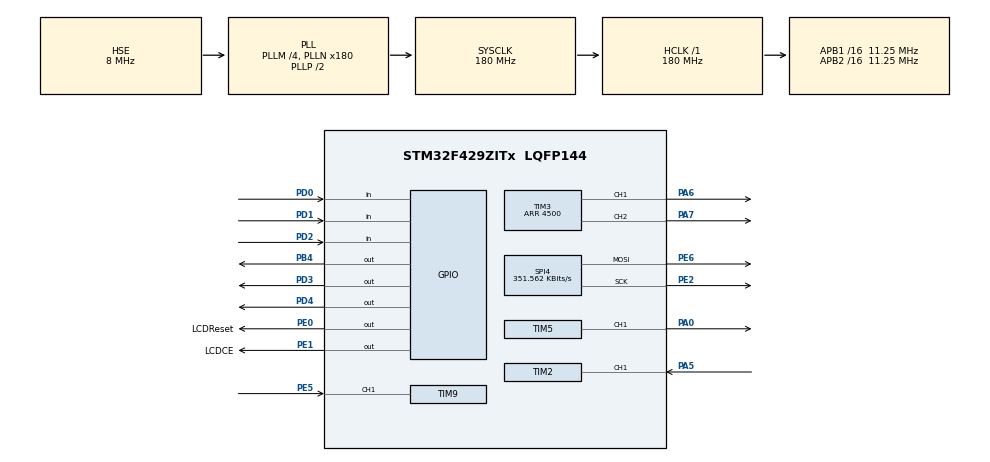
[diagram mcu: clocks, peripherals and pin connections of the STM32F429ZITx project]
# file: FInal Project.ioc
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Mcu.Family=STM32F4
Mcu.Name=STM32F429ZITx
Mcu.Package=LQFP144
NVIC.PriorityGroup=NVIC_PRIORITYGROUP_4
NVIC.TIM1_BRK_TIM9_IRQn=true\:2\:0\:true\:false\:true\:true\:true\:true
NVIC.TIM2_IRQn=true\:0\:0\:false\:false\:true\:true\:true\:true
NVIC.TIM3_IRQn=true\:4\:0\:true\:false\:true\:true\:true\:true
NVIC.TIM5_IRQn=true\:3\:0\:true\:false\:true\:true\:true\:true
PA0/WKUP.Signal=S_TIM5_CH1
PA5.Signal=S_TIM2_CH1_ETR
PA6.Signal=S_TIM3_CH1
PA7.Signal=S_TIM3_CH2
PB4.Signal=GPIO_Output
PD0.Signal=GPIO_Input
PD1.Signal=GPIO_Input
PD2.Signal=GPIO_Input
PD3.Signal=GPIO_Output
PD4.Signal=GPIO_Output
PE0.GPIO_Label=LCDReset
PE0.Signal=GPIO_Output
PE1.GPIO_Label=LCDCE
PE1.Signal=GPIO_Output
PE2.Mode=TX_Only_Simplex_Unidirect_Master
PE2.Signal=SPI4_SCK
PE5.Signal=S_TIM9_CH1
PE6.Mode=TX_Only_Simplex_Unidirect_Master
PE6.Signal=SPI4_MOSI
PH0/OSC_IN.Mode=HSE-External-Oscillator
PH0/OSC_IN.Signal=RCC_OSC_IN
PH1/OSC_OUT.Mode=HSE-External-Oscillator
PH1/OSC_OUT.Signal=RCC_OSC_OUT
ProjectManager.HeapSize=0x200
ProjectManager.StackSize=0x400
ProjectManager.TargetToolchain=EWARM V8.50
RCC.48MHZClocksFreq_Value=90000000
RCC.AHBFreq_Value=180000000
RCC.APB1CLKDivider=RCC_HCLK_DIV16
RCC.APB1Freq_Value=11250000
RCC.APB1TimFreq_Value=22500000
RCC.APB2CLKDivider=RCC_HCLK_DIV16
RCC.APB2Freq_Value=11250000
RCC.APB2TimFreq_Value=22500000
RCC.CortexFreq_Value=180000000
RCC.HCLKFreq_Value=180000000
RCC.HSE_VALUE=8000000
RCC.HSI_VALUE=16000000
RCC.LSE_VALUE=32768
RCC.PLLM=4
RCC.PLLN=180
RCC.PLLSourceVirtual=RCC_PLLSOURCE_HSE
RCC.SYSCLKFreq_VALUE=180000000
RCC.SYSCLKSource=RCC_SYSCLKSOURCE_PLLCLK
RCC.VCOOutputFreq_Value=360000000
SH.S_TIM2_CH1_ETR.0=TIM2_CH1,Input_Capture1_from_TI1
SH.S_TIM3_CH1.0=TIM3_CH1,PWM Generation1 CH1
SH.S_TIM3_CH2.0=TIM3_CH2,PWM Generation2 CH2
SH.S_TIM5_CH1.0=TIM5_CH1,PWM Generation1 CH1
SH.S_TIM9_CH1.0=TIM9_CH1,Input_Capture1_from_TI1
SPI4.BaudRatePrescaler=SPI_BAUDRATEPRESCALER_32
SPI4.CalculateBaudRate=351.562 KBits/s
SPI4.Direction=SPI_DIRECTION_2LINES
SPI4.Mode=SPI_MODE_MASTER
SPI4.VirtualType=VM_MASTER
TIM2.Channel-Input_Capture1_from_TI1=TIM_CHANNEL_1
TIM2.ICFilter_CH1=2
TIM2.ICPolarity_CH1=TIM_INPUTCHANNELPOLARITY_BOTHEDGE
TIM3.Channel-PWM\ Generation1\ CH1=TIM_CHANNEL_1
TIM3.Channel-PWM\ Generation2\ CH2=TIM_CHANNEL_2
TIM3.Period=4500
TIM3.Pulse-PWM\ Generation1\ CH1=2250
TIM3.Pulse-PWM\ Generation2\ CH2=2250
TIM5.Channel-PWM\ Generation1\ CH1=TIM_CHANNEL_1
TIM5.Period=4500000
TIM5.Pulse-PWM\ Generation1\ CH1=1800-1
TIM9.Channel-Input_Capture1_from_TI1=TIM_CHANNEL_1
TIM9.ICPolarity_CH1=TIM_INPUTCHANNELPOLARITY_BOTHEDGE
TIM9.Period=60000
TIM9.Prescaler=180-1
VP_TIM2_VS_ClockSourceINT.Mode=Internal
VP_TIM3_VS_ClockSourceINT.Mode=Internal
VP_TIM5_VS_ClockSourceINT.Mode=Internal
VP_TIM9_VS_ClockSourceINT.Mode=Internal
board=custom

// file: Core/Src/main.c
/* USER CODE BEGIN Header */
/**
  ******************************************************************************
  * @file           : main.c
  * @brief          : Main program body
  ******************************************************************************
  * @attention
  *
  * Copyright (c) 2023 STMicroelectronics.
  * All rights reserved.
  *
  * This software is licensed under terms that can be found in the LICENSE file
  * in the root directory of this software component.
  * If no LICENSE file comes with this software, it is provided AS-IS.
  *
  ******************************************************************************
  */
/* USER CODE END Header */
#include "main.h"

/* USER CODE BEGIN PD */

#define Function_Set   0x30
#define Display_On     0x0C
#define Display_Clear  0x01
#define Entry_Mode_Set 0x06

#define LOWER_DISTANCE_BOUND 1
#define UPPER_DISTANCE_BOUND 12

/* USER CODE END PD */

SPI_HandleTypeDef hspi4;

TIM_HandleTypeDef htim2;
TIM_HandleTypeDef htim3;
TIM_HandleTypeDef htim5;
TIM_HandleTypeDef htim9;

void SystemClock_Config(void);
static void MX_GPIO_Init(void);
static void MX_SPI4_Init(void);
static void MX_TIM5_Init(void);
static void MX_TIM9_Init(void);
static void MX_TIM3_Init(void);
static void MX_TIM2_Init(void);
/* USER CODE BEGIN PFP */

void startSequence();
void loopSequence();
void endSequence();
void emergencyEndSequence();

//LCD Area
uint8_t data[3];

void LCD_SendCommand(uint8_t cmd) {

  data[0] = 0xF8;
  data[1] = (cmd & 0xF0);
  data[2] = ((cmd << 4) & 0xF0);
  HAL_GPIO_WritePin(GPIOE, GPIO_PIN_1, GPIO_PIN_SET);
  HAL_SPI_Transmit(&hspi4, data, 3, 1);
  HAL_GPIO_WritePin(GPIOE, GPIO_PIN_1, GPIO_PIN_RESET);
}

void LCD_SendData(uint8_t dataIn) {
  data[0] = 0xFA;
  data[1] = (dataIn & 0xF0);
  data[2] = ((dataIn << 4) & 0XF0);
  HAL_GPIO_WritePin(GPIOE, GPIO_PIN_1, GPIO_PIN_SET);
  HAL_SPI_Transmit(&hspi4, data, 3, 10);
  HAL_GPIO_WritePin(GPIOE, GPIO_PIN_1, GPIO_PIN_RESET);
}

void LCD_Init() {

    HAL_GPIO_WritePin(GPIOE, GPIO_PIN_0, GPIO_PIN_RESET);
    HAL_Delay(100);
    HAL_GPIO_WritePin(GPIOE, GPIO_PIN_0, GPIO_PIN_SET);
    HAL_Delay(50);
    LCD_SendCommand(Function_Set);
    HAL_Delay(10);
    LCD_SendCommand(Function_Set);
    HAL_Delay(10);
    LCD_SendCommand(Display_On);
    HAL_Delay(10);
    LCD_SendCommand(Display_Clear);
    HAL_Delay(15);
    LCD_SendCommand(Entry_Mode_Set);
    HAL_Delay(15);
}

void LCD_Clear() {
  LCD_SendCommand(Display_Clear);
}

void sendString(char* string, uint8_t len) {

  for(uint8_t i = 0; i < len; i++){
    LCD_SendData(string[i]);
    HAL_Delay(1);
  }
}

void LCD_Sel_Row_Col(uint8_t row, uint8_t col)
{
  switch(row)
	{
	case 0:
		col |= 0x80; // 0b10000000 first row
        case 1:
                col |= 0x90;
        case 2:
                col |= 0x88;
        case 3:
                col |= 0x98;
	break;
  }
  LCD_SendCommand(col);
  HAL_Delay(5);
}

double countAtRisingEdgeUltrasonic;
double pulseWidthUltrasonic;

double countAtRisingEdgeEncoder;

uint32_t currentTime = 0;

void HAL_TIM_IC_CaptureCallback(TIM_HandleTypeDef *htim) {

  //E5 is for ultrasonic sensor
  if(HAL_GPIO_ReadPin(GPIOE, GPIO_PIN_5) == GPIO_PIN_SET) {
    countAtRisingEdgeUltrasonic = TIM9 -> CNT;

  } else if ( (HAL_GPIO_ReadPin(GPIOE, GPIO_PIN_5) == GPIO_PIN_RESET) ) {
    pulseWidthUltrasonic = (TIM9 -> CNT - countAtRisingEdgeUltrasonic);
    TIM9 -> CNT = 0;
  }

  //A5 is for Encoder
  if(htim -> Instance == TIM2) {
      //calculate freq
    if( (HAL_GPIO_ReadPin(GPIOA, GPIO_PIN_5) == GPIO_PIN_SET && (HAL_GetTick() - currentTime) > 1) ) {
      countAtRisingEdgeEncoder = TIM2 -> CNT;
      TIM2 -> CNT = 0;
      currentTime = HAL_GetTick();
    }
  }
}

/* USER CODE END PFP */

/* USER CODE BEGIN 0 */

/*

I/O:
-Start Button (active low) DI  good**
  -PD0
-ESTOP        (active low) DI good**
  -PD1
-LED                       DO good**
  -PD4

-Buzzer       good**             PWM Out
  -Tim3 5kHz to 3.5kHz
  -5kHz starts at arr = 4500
  -3.5kHz ends at arr = 6428

-IR prox   (active low)    DI and DO good**
  -PD2 for DI
  -PD3 for DO

-H-Bridge (pwm) good**            PWM Out
  -Also on Tim3
  -duty cycle with ccr = arr * desired duty % -> (((-50 * (encoder freq) + 325) / 100))

-Encoder  (pwm) good**          Input Capture
  -Tim12 Input Capture

Bonus #2: I/O good**
-LCD                       All LCD Connections
  -SPI4 is for all data transfer
  -PE0 and 1 are for reset and cs, respectively

Bonus #3: I/O good**
-Ultrasonic sensor         All Ultrasonic Connections
  -Tim9 Ch1 is for pulsewidth echo
  -Tim5 Ch1 is for Trigger
*/

//START SEQUENCE IS GOOD*******************************
void startSequence() {

  //If start button goes low
  if(HAL_GPIO_ReadPin(GPIOD, GPIO_PIN_0) == GPIO_PIN_RESET) {

    //update LCD
    LCD_Clear();
    LCD_Sel_Row_Col(0,0);
    sendString("Running", 7);

    //update tim3 arr to 5kHz
    TIM3 -> ARR = 4500;

    //Sound buzzer
    HAL_TIM_PWM_Start(&htim3, TIM_CHANNEL_2);

    //blink LED 6 times at 1Hz
    for(int i = 0; i < 6; i++) {
      HAL_GPIO_WritePin(GPIOD, GPIO_PIN_4, GPIO_PIN_SET);
      HAL_Delay(500);
      HAL_GPIO_WritePin(GPIOD, GPIO_PIN_4, GPIO_PIN_RESET);
      HAL_Delay(500);
    }

    //Stop buzzer
    HAL_TIM_PWM_Stop(&htim3, TIM_CHANNEL_2);

    //turn on IR emmitter
    HAL_GPIO_WritePin(GPIOD, GPIO_PIN_3, GPIO_PIN_SET);

    //run loop
    loopSequence();
  }
}

int prevValue = 0;

void loopSequence() {

  //start h-bridge output
  HAL_TIM_PWM_Start(&htim3, TIM_CHANNEL_1);

  //start encoder reading
  HAL_TIM_Base_Start_IT(&htim2);
  HAL_TIM_IC_Start_IT(&htim2, TIM_CHANNEL_1);

  //start ultrasonic reading
  HAL_TIM_PWM_Start(&htim5, TIM_CHANNEL_1);
  HAL_TIM_IC_Start_IT(&htim9, TIM_CHANNEL_1);

  HAL_GPIO_WritePin(GPIOB, GPIO_PIN_4, GPIO_PIN_SET);

        //if reciever hasnt tripped
  while(HAL_GPIO_ReadPin(GPIOD, GPIO_PIN_2) == GPIO_PIN_SET) {

    if (countAtRisingEdgeEncoder < 3.5E6 && countAtRisingEdgeEncoder > 1E6) { TIM3 -> CCR1 = 450;} //10%
    else if (countAtRisingEdgeEncoder < 3.7E6 ) {TIM3 -> CCR1 = 900;} //20%
    else if (countAtRisingEdgeEncoder < 3.9E6 ) {TIM3 -> CCR1 = 1350;} //30%
    else if (countAtRisingEdgeEncoder < 4.0E6 ) {TIM3 -> CCR1 = 1800;} //40%
    else if (countAtRisingEdgeEncoder < 4.1E6 ) {TIM3 -> CCR1 = 2250;} //50%
    else if (countAtRisingEdgeEncoder < 4.25E6) {TIM3 -> CCR1 = 2700;} //60%
    else if (countAtRisingEdgeEncoder < 4.45E6) {TIM3 -> CCR1 = 3150;} //70%
    else if (countAtRisingEdgeEncoder < 4.6E6) {TIM3 -> CCR1 = 3600;} //80%
    else if (countAtRisingEdgeEncoder < 4.8E8) {TIM3 -> CCR1 = 4050;} //90%
    else if (countAtRisingEdgeEncoder <= 1E6 || countAtRisingEdgeEncoder >= 4.8E8){TIM3 -> CCR1 = prevValue;}

    prevValue = TIM3 -> CCR1;

  }

  //stop h-bridge output
  HAL_TIM_PWM_Stop(&htim3, TIM_CHANNEL_1);

  //stop encoder reading
  HAL_TIM_IC_Stop_IT(&htim2, TIM_CHANNEL_1);

  //stop ultrasonic reading
  HAL_TIM_PWM_Stop(&htim5, TIM_CHANNEL_1);
  HAL_TIM_IC_Stop_IT(&htim9, TIM_CHANNEL_1);

  //turn of IR emmitter
  HAL_GPIO_WritePin(GPIOD, GPIO_PIN_3, GPIO_PIN_RESET);

  HAL_GPIO_WritePin(GPIOB, GPIO_PIN_4, GPIO_PIN_RESET);

  //estop
  if(HAL_GPIO_ReadPin(GPIOD, GPIO_PIN_1) == GPIO_PIN_RESET) {
    emergencyEndSequence();
  } else {
    endSequence();
  }
}

//END IS GOOD****************************************
void endSequence() {

  //update LCD
  LCD_Clear();
  LCD_Sel_Row_Col(0,0);
  sendString("Halted", 6);

  //sound buzzer at 3.5kHz
  TIM3 -> ARR = 6428;

  HAL_TIM_PWM_Start(&htim3, TIM_CHANNEL_2);

  //blink LED 10 times
  for(int i = 0; i < 10; i++) {

    HAL_GPIO_WritePin(GPIOD, GPIO_PIN_4, GPIO_PIN_SET);
    HAL_Delay(250);
    HAL_GPIO_WritePin(GPIOD, GPIO_PIN_4, GPIO_PIN_RESET);
    HAL_Delay(250);
  }

  //stop buzzer
  HAL_TIM_PWM_Stop(&htim3, TIM_CHANNEL_2);

}

void emergencyEndSequence() {

  //update LCD
  LCD_Clear();
  LCD_Sel_Row_Col(0,0);
  sendString("Estopped!", 9);
}

/* USER CODE END 0 */

int main(void)
{

  /* MCU Configuration--------------------------------------------------------*/

  /* Reset of all peripherals, Initializes the Flash interface and the Systick. */
  HAL_Init();

  /* Configure the system clock */
  SystemClock_Config();

  /* Initialize all configured peripherals */
  MX_GPIO_Init();
  MX_SPI4_Init();
  MX_TIM5_Init();
  MX_TIM9_Init();
  MX_TIM3_Init();
  MX_TIM2_Init();

  /* Infinite loop */
  /* USER CODE BEGIN WHILE */
  while (1)
  {

    startSequence();
    /* USER CODE END WHILE */

  }
}

void SystemClock_Config(void)
{
  RCC_OscInitTypeDef RCC_OscInitStruct = {0};
  RCC_ClkInitTypeDef RCC_ClkInitStruct = {0};

  /** Configure the main internal regulator output voltage
  */
  __HAL_RCC_PWR_CLK_ENABLE();
  __HAL_PWR_VOLTAGESCALING_CONFIG(PWR_REGULATOR_VOLTAGE_SCALE1);

  /** Initializes the RCC Oscillators according to the specified parameters
  * in the RCC_OscInitTypeDef structure.
  */
  RCC_OscInitStruct.OscillatorType = RCC_OSCILLATORTYPE_HSE;
  RCC_OscInitStruct.HSEState = RCC_HSE_ON;
  RCC_OscInitStruct.PLL.PLLState = RCC_PLL_ON;
  RCC_OscInitStruct.PLL.PLLSource = RCC_PLLSOURCE_HSE;
  RCC_OscInitStruct.PLL.PLLM = 4;
  RCC_OscInitStruct.PLL.PLLN = 180;
  RCC_OscInitStruct.PLL.PLLP = RCC_PLLP_DIV2;
  RCC_OscInitStruct.PLL.PLLQ = 4;
  if (HAL_RCC_OscConfig(&RCC_OscInitStruct) != HAL_OK)
  {
    Error_Handler();
  }

  /** Activate the Over-Drive mode
  */
  if (HAL_PWREx_EnableOverDrive() != HAL_OK)
  {
    Error_Handler();
  }

  /** Initializes the CPU, AHB and APB buses clocks
  */
  RCC_ClkInitStruct.ClockType = RCC_CLOCKTYPE_HCLK|RCC_CLOCKTYPE_SYSCLK
                              |RCC_CLOCKTYPE_PCLK1|RCC_CLOCKTYPE_PCLK2;
  RCC_ClkInitStruct.SYSCLKSource = RCC_SYSCLKSOURCE_PLLCLK;
  RCC_ClkInitStruct.AHBCLKDivider = RCC_SYSCLK_DIV1;
  RCC_ClkInitStruct.APB1CLKDivider = RCC_HCLK_DIV16;
  RCC_ClkInitStruct.APB2CLKDivider = RCC_HCLK_DIV16;

  if (HAL_RCC_ClockConfig(&RCC_ClkInitStruct, FLASH_LATENCY_5) != HAL_OK)
  {
    Error_Handler();
  }
}

static void MX_SPI4_Init(void)
{

  /* SPI4 parameter configuration*/
  hspi4.Instance = SPI4;
  hspi4.Init.Mode = SPI_MODE_MASTER;
  hspi4.Init.Direction = SPI_DIRECTION_2LINES;
  hspi4.Init.DataSize = SPI_DATASIZE_8BIT;
  hspi4.Init.CLKPolarity = SPI_POLARITY_LOW;
  hspi4.Init.CLKPhase = SPI_PHASE_1EDGE;
  hspi4.Init.NSS = SPI_NSS_SOFT;
  hspi4.Init.BaudRatePrescaler = SPI_BAUDRATEPRESCALER_32;
  hspi4.Init.FirstBit = SPI_FIRSTBIT_MSB;
  hspi4.Init.TIMode = SPI_TIMODE_DISABLE;
  hspi4.Init.CRCCalculation = SPI_CRCCALCULATION_DISABLE;
  hspi4.Init.CRCPolynomial = 10;
  if (HAL_SPI_Init(&hspi4) != HAL_OK)
  {
    Error_Handler();
  }

}

static void MX_TIM2_Init(void)
{

  TIM_ClockConfigTypeDef sClockSourceConfig = {0};
  TIM_MasterConfigTypeDef sMasterConfig = {0};
  TIM_IC_InitTypeDef sConfigIC = {0};

  htim2.Instance = TIM2;
  htim2.Init.Prescaler = 0;
  htim2.Init.CounterMode = TIM_COUNTERMODE_UP;
  htim2.Init.Period = 4294967295;
  htim2.Init.ClockDivision = TIM_CLOCKDIVISION_DIV1;
  htim2.Init.AutoReloadPreload = TIM_AUTORELOAD_PRELOAD_DISABLE;
  if (HAL_TIM_Base_Init(&htim2) != HAL_OK)
  {
    Error_Handler();
  }
  sClockSourceConfig.ClockSource = TIM_CLOCKSOURCE_INTERNAL;
  if (HAL_TIM_ConfigClockSource(&htim2, &sClockSourceConfig) != HAL_OK)
  {
    Error_Handler();
  }
  if (HAL_TIM_IC_Init(&htim2) != HAL_OK)
  {
    Error_Handler();
  }
  sMasterConfig.MasterOutputTrigger = TIM_TRGO_RESET;
  sMasterConfig.MasterSlaveMode = TIM_MASTERSLAVEMODE_DISABLE;
  if (HAL_TIMEx_MasterConfigSynchronization(&htim2, &sMasterConfig) != HAL_OK)
  {
    Error_Handler();
  }
  sConfigIC.ICPolarity = TIM_INPUTCHANNELPOLARITY_BOTHEDGE;
  sConfigIC.ICSelection = TIM_ICSELECTION_DIRECTTI;
  sConfigIC.ICPrescaler = TIM_ICPSC_DIV1;
  sConfigIC.ICFilter = 2;
  if (HAL_TIM_IC_ConfigChannel(&htim2, &sConfigIC, TIM_CHANNEL_1) != HAL_OK)
  {
    Error_Handler();
  }

}

static void MX_TIM3_Init(void)
{

  TIM_ClockConfigTypeDef sClockSourceConfig = {0};
  TIM_MasterConfigTypeDef sMasterConfig = {0};
  TIM_OC_InitTypeDef sConfigOC = {0};

  htim3.Instance = TIM3;
  htim3.Init.Prescaler = 0;
  htim3.Init.CounterMode = TIM_COUNTERMODE_UP;
  htim3.Init.Period = 4500;
  htim3.Init.ClockDivision = TIM_CLOCKDIVISION_DIV1;
  htim3.Init.AutoReloadPreload = TIM_AUTORELOAD_PRELOAD_DISABLE;
  if (HAL_TIM_Base_Init(&htim3) != HAL_OK)
  {
    Error_Handler();
  }
  sClockSourceConfig.ClockSource = TIM_CLOCKSOURCE_INTERNAL;
  if (HAL_TIM_ConfigClockSource(&htim3, &sClockSourceConfig) != HAL_OK)
  {
    Error_Handler();
  }
  if (HAL_TIM_PWM_Init(&htim3) != HAL_OK)
  {
    Error_Handler();
  }
  sMasterConfig.MasterOutputTrigger = TIM_TRGO_RESET;
  sMasterConfig.MasterSlaveMode = TIM_MASTERSLAVEMODE_DISABLE;
  if (HAL_TIMEx_MasterConfigSynchronization(&htim3, &sMasterConfig) != HAL_OK)
  {
    Error_Handler();
  }
  sConfigOC.OCMode = TIM_OCMODE_PWM1;
  sConfigOC.Pulse = 2250;
  sConfigOC.OCPolarity = TIM_OCPOLARITY_HIGH;
  sConfigOC.OCFastMode = TIM_OCFAST_DISABLE;
  if (HAL_TIM_PWM_ConfigChannel(&htim3, &sConfigOC, TIM_CHANNEL_1) != HAL_OK)
  {
    Error_Handler();
  }
  if (HAL_TIM_PWM_ConfigChannel(&htim3, &sConfigOC, TIM_CHANNEL_2) != HAL_OK)
  {
    Error_Handler();
  }
  HAL_TIM_MspPostInit(&htim3);

}

static void MX_TIM5_Init(void)
{

  TIM_ClockConfigTypeDef sClockSourceConfig = {0};
  TIM_MasterConfigTypeDef sMasterConfig = {0};
  TIM_OC_InitTypeDef sConfigOC = {0};

  htim5.Instance = TIM5;
  htim5.Init.Prescaler = 0;
  htim5.Init.CounterMode = TIM_COUNTERMODE_UP;
  htim5.Init.Period = 4500000;
  htim5.Init.ClockDivision = TIM_CLOCKDIVISION_DIV1;
  htim5.Init.AutoReloadPreload = TIM_AUTORELOAD_PRELOAD_DISABLE;
  if (HAL_TIM_Base_Init(&htim5) != HAL_OK)
  {
    Error_Handler();
  }
  sClockSourceConfig.ClockSource = TIM_CLOCKSOURCE_INTERNAL;
  if (HAL_TIM_ConfigClockSource(&htim5, &sClockSourceConfig) != HAL_OK)
  {
    Error_Handler();
  }
  if (HAL_TIM_PWM_Init(&htim5) != HAL_OK)
  {
    Error_Handler();
  }
  sMasterConfig.MasterOutputTrigger = TIM_TRGO_RESET;
  sMasterConfig.MasterSlaveMode = TIM_MASTERSLAVEMODE_DISABLE;
  if (HAL_TIMEx_MasterConfigSynchronization(&htim5, &sMasterConfig) != HAL_OK)
  {
    Error_Handler();
  }
  sConfigOC.OCMode = TIM_OCMODE_PWM1;
  sConfigOC.Pulse = 1800-1;
  sConfigOC.OCPolarity = TIM_OCPOLARITY_HIGH;
  sConfigOC.OCFastMode = TIM_OCFAST_DISABLE;
  if (HAL_TIM_PWM_ConfigChannel(&htim5, &sConfigOC, TIM_CHANNEL_1) != HAL_OK)
  {
    Error_Handler();
  }
  HAL_TIM_MspPostInit(&htim5);

}

static void MX_TIM9_Init(void)
{

  TIM_ClockConfigTypeDef sClockSourceConfig = {0};
  TIM_IC_InitTypeDef sConfigIC = {0};

  htim9.Instance = TIM9;
  htim9.Init.Prescaler = 180-1;
  htim9.Init.CounterMode = TIM_COUNTERMODE_UP;
  htim9.Init.Period = 60000;
  htim9.Init.ClockDivision = TIM_CLOCKDIVISION_DIV1;
  htim9.Init.AutoReloadPreload = TIM_AUTORELOAD_PRELOAD_DISABLE;
  if (HAL_TIM_Base_Init(&htim9) != HAL_OK)
  {
    Error_Handler();
  }
  sClockSourceConfig.ClockSource = TIM_CLOCKSOURCE_INTERNAL;
  if (HAL_TIM_ConfigClockSource(&htim9, &sClockSourceConfig) != HAL_OK)
  {
    Error_Handler();
  }
  if (HAL_TIM_IC_Init(&htim9) != HAL_OK)
  {
    Error_Handler();
  }
  sConfigIC.ICPolarity = TIM_INPUTCHANNELPOLARITY_BOTHEDGE;
  sConfigIC.ICSelection = TIM_ICSELECTION_DIRECTTI;
  sConfigIC.ICPrescaler = TIM_ICPSC_DIV1;
  sConfigIC.ICFilter = 0;
  if (HAL_TIM_IC_ConfigChannel(&htim9, &sConfigIC, TIM_CHANNEL_1) != HAL_OK)
  {
    Error_Handler();
  }

}

static void MX_GPIO_Init(void)
{
  GPIO_InitTypeDef GPIO_InitStruct = {0};

  /* GPIO Ports Clock Enable */
  __HAL_RCC_GPIOE_CLK_ENABLE();
  __HAL_RCC_GPIOH_CLK_ENABLE();
  __HAL_RCC_GPIOA_CLK_ENABLE();
  __HAL_RCC_GPIOD_CLK_ENABLE();
  __HAL_RCC_GPIOB_CLK_ENABLE();

  /*Configure GPIO pin Output Level */
  HAL_GPIO_WritePin(GPIOD, GPIO_PIN_3|GPIO_PIN_4, GPIO_PIN_RESET);

  /*Configure GPIO pin Output Level */
  HAL_GPIO_WritePin(GPIOB, GPIO_PIN_4, GPIO_PIN_RESET);

  /*Configure GPIO pin Output Level */
  HAL_GPIO_WritePin(GPIOE, LCDReset_Pin|LCDCE_Pin, GPIO_PIN_RESET);

  /*Configure GPIO pins : PD0 PD1 PD2 */
  GPIO_InitStruct.Pin = GPIO_PIN_0|GPIO_PIN_1|GPIO_PIN_2;
  GPIO_InitStruct.Mode = GPIO_MODE_INPUT;
  GPIO_InitStruct.Pull = GPIO_NOPULL;
  HAL_GPIO_Init(GPIOD, &GPIO_InitStruct);

  /*Configure GPIO pins : PD3 PD4 */
  GPIO_InitStruct.Pin = GPIO_PIN_3|GPIO_PIN_4;
  GPIO_InitStruct.Mode = GPIO_MODE_OUTPUT_PP;
  GPIO_InitStruct.Pull = GPIO_NOPULL;
  GPIO_InitStruct.Speed = GPIO_SPEED_FREQ_LOW;
  HAL_GPIO_Init(GPIOD, &GPIO_InitStruct);

  /*Configure GPIO pin : PB4 */
  GPIO_InitStruct.Pin = GPIO_PIN_4;
  GPIO_InitStruct.Mode = GPIO_MODE_OUTPUT_PP;
  GPIO_InitStruct.Pull = GPIO_NOPULL;
  GPIO_InitStruct.Speed = GPIO_SPEED_FREQ_LOW;
  HAL_GPIO_Init(GPIOB, &GPIO_InitStruct);

  /*Configure GPIO pins : LCDReset_Pin LCDCE_Pin */
  GPIO_InitStruct.Pin = LCDReset_Pin|LCDCE_Pin;
  GPIO_InitStruct.Mode = GPIO_MODE_OUTPUT_PP;
  GPIO_InitStruct.Pull = GPIO_NOPULL;
  GPIO_InitStruct.Speed = GPIO_SPEED_FREQ_LOW;
  HAL_GPIO_Init(GPIOE, &GPIO_InitStruct);

}

void Error_Handler(void)
{
  __disable_irq();
  while (1)
  {
  }
}
